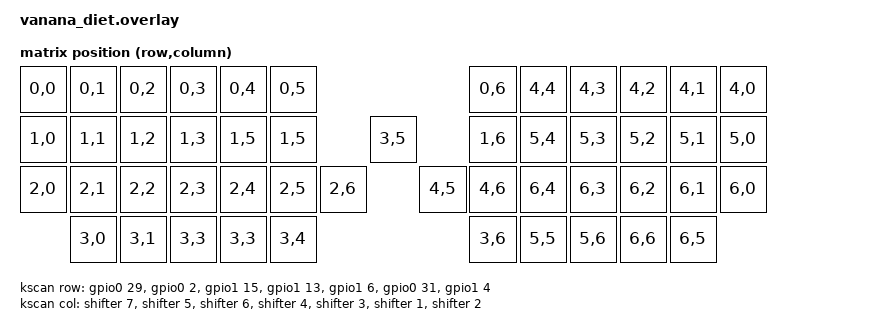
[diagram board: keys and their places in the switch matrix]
#include "vanana_diet.dtsi"

/ {
	// model = "vanana_diet";
	// compatible = "dELIKEEb,vanana_diet";

	chosen {
		zmk,kscan = &kscan;
		zmk,matrix_transform = &transform;
	};

	transform: transform {
		compatible = "zmk,matrix-transform";
		rows = <7>;
		columns = <7>;

		map = <
    RC(0,0) RC(0,1) RC(0,2) RC(0,3) RC(0,4) RC(0,5) 	                    RC(0,6) RC(4,4) RC(4,3) RC(4,2) RC(4,1) RC(4,0)
	RC(1,0) RC(1,1) RC(1,2) RC(1,3) RC(1,5) RC(1,5) 	    RC(3,5)         RC(1,6) RC(5,4) RC(5,3) RC(5,2) RC(5,1) RC(5,0)
	RC(2,0) RC(2,1) RC(2,2) RC(2,3) RC(2,4) RC(2,5) RC(2,6)     	RC(4,5) RC(4,6) RC(6,4) RC(6,3) RC(6,2) RC(6,1) RC(6,0)
	        RC(3,0) RC(3,1) RC(3,3) RC(3,3) RC(3,4)                         RC(3,6) RC(5,5) RC(5,6) RC(6,6) RC(6,5)
	>;
	};
	
	kscan: kscan {
		compatible = "zmk,kscan-gpio-matrix";
		wakeup-source;

		debounce-press-ms = <1>;
		debounce-release-ms = <5>;

		diode-direction = "col2row";

		col-gpios
			= <&shifter 7 (GPIO_ACTIVE_HIGH)>
			, <&shifter 5 (GPIO_ACTIVE_HIGH)>
			, <&shifter 6 (GPIO_ACTIVE_HIGH)>
			, <&shifter 4 (GPIO_ACTIVE_HIGH)>
			, <&shifter 3 (GPIO_ACTIVE_HIGH)>
			, <&shifter 1 (GPIO_ACTIVE_HIGH)>
			, <&shifter 2 (GPIO_ACTIVE_HIGH)>
			;
		row-gpios
			= <&gpio0 29  	(GPIO_ACTIVE_HIGH | GPIO_PULL_DOWN)>
			, <&gpio0 2   	(GPIO_ACTIVE_HIGH | GPIO_PULL_DOWN)>
			, <&gpio1 15 	(GPIO_ACTIVE_HIGH | GPIO_PULL_DOWN)>
			, <&gpio1 13 	(GPIO_ACTIVE_HIGH | GPIO_PULL_DOWN)>
            , <&gpio1 6 	(GPIO_ACTIVE_HIGH | GPIO_PULL_DOWN)>
            , <&gpio0 31 	(GPIO_ACTIVE_HIGH | GPIO_PULL_DOWN)>
            , <&gpio1 4 	(GPIO_ACTIVE_HIGH | GPIO_PULL_DOWN)>
			;
	};
};
